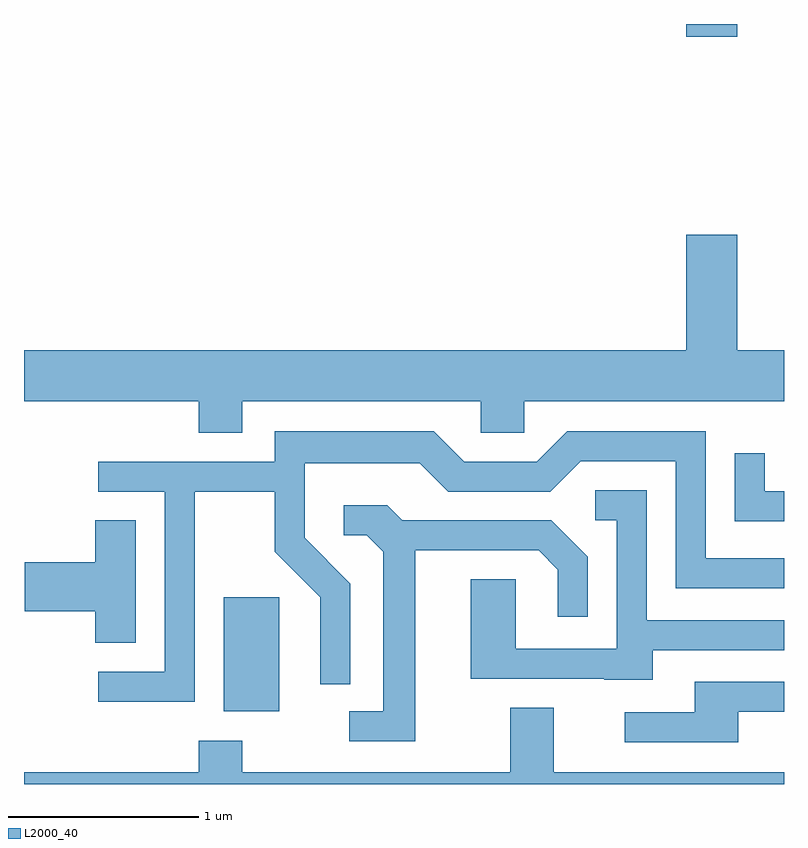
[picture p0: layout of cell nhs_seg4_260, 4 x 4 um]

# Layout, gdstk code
import gdstk
lib = gdstk.Library(unit=1e-6, precision=1e-09)
def R(c, l, rs):  # rectangles x0, y0, x1, y1
    for r in rs: c.add(gdstk.rectangle(r[:2], r[2:], *l))
def P(c, l, *ps):  # polygons
    for p in ps: c.add(gdstk.Polygon(p, *l))
L2000_40 = (2000, 40)

nhs_seg4_260 = lib.new_cell('nhs_seg4_260')
R(nhs_seg4_260, L2000_40, [(192.661,1366.366,192.954,1366.964), (195.096,1369.916,195.364,1369.982)])
P(nhs_seg4_260, L2000_40, [(192.759,1367.996),(194.016,1367.996),(194.016,1367.831),(194.244,1367.831),(194.244,1367.996),(195.611,1367.996),(195.611,1368.264),(195.364,1368.264),(195.364,1368.874),(195.096,1368.874),(195.096,1368.264),(191.611,1368.264),(191.611,1367.996),(192.531,1367.996),(192.531,1367.831),(192.759,1367.831)],
  [(192.509,1367.521),(192.931,1367.521),(192.931,1367.204),(193.171,1366.964),(193.171,1366.508),(193.329,1366.508),(193.329,1367.037),(193.089,1367.277),(193.089,1367.671),(193.694,1367.671),(193.844,1367.521),(194.382,1367.521),(194.542,1367.681),(195.041,1367.681),(195.041,1367.011),(195.611,1367.011),(195.611,1367.169),(195.199,1367.169),(195.199,1367.839),(194.469,1367.839),(194.309,1367.679),(193.927,1367.679),(193.767,1367.839),(192.931,1367.839),(192.931,1367.679),(192.003,1367.679),(192.003,1367.521),(192.351,1367.521),(192.351,1366.574),(192.003,1366.574),(192.003,1366.416),(192.509,1366.416)],
  [(195.611,1367.524),(195.509,1367.524),(195.509,1367.723),(195.351,1367.723),(195.351,1367.366),(195.611,1367.366)],
  [(194.919,1366.686),(195.611,1366.686),(195.611,1366.844),(194.889,1366.844),(194.889,1367.529),(194.618,1367.529),(194.618,1367.371),(194.731,1367.371),(194.731,1366.694),(194.199,1366.694),(194.199,1367.059),(193.961,1367.059),(193.961,1366.536),(194.665,1366.536),(194.665,1366.531),(194.919,1366.531)],
  [(193.669,1367.211),(194.319,1367.211),(194.421,1367.109),(194.421,1366.863),(194.579,1366.863),(194.579,1367.177),(194.387,1367.369),(193.602,1367.369),(193.522,1367.449),(193.293,1367.449),(193.293,1367.291),(193.414,1367.291),(193.501,1367.204),(193.501,1366.364),(193.323,1366.364),(193.323,1366.206),(193.669,1366.206)],
  [(192.199,1367.369),(191.986,1367.369),(191.986,1367.149),(191.616,1367.149),(191.616,1366.891),(191.986,1366.891),(191.986,1366.726),(192.199,1366.726)],
  [(195.369,1366.361),(195.611,1366.361),(195.611,1366.519),(195.141,1366.519),(195.141,1366.359),(194.773,1366.359),(194.773,1366.201),(195.369,1366.201)],
  [(195.611,1366.044),(194.399,1366.044),(194.399,1366.384),(194.171,1366.384),(194.171,1366.044),(192.759,1366.044),(192.759,1366.209),(192.531,1366.209),(192.531,1366.044),(191.611,1366.044),(191.611,1365.982),(195.611,1365.982)])

lib.write_gds('nhs_seg4_260.gds')
